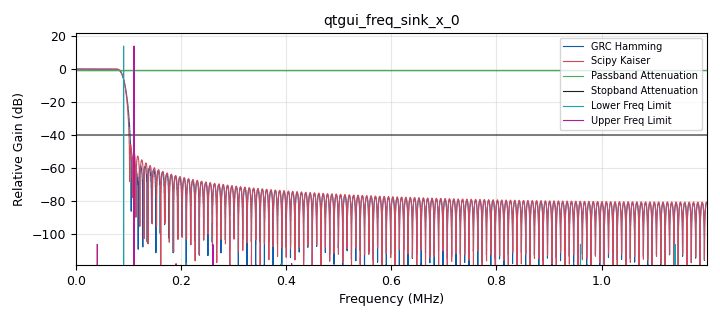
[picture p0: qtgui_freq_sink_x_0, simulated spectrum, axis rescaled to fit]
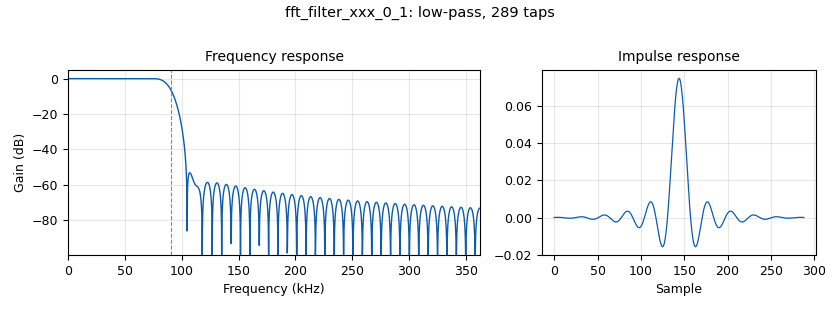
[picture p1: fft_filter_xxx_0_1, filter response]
options:
  parameters:
    author: Gary Schafer
    generate_options: qt_gui
    id: windowedSincImpulseResponse
    output_language: python
    title: Windowed-Sinc Impulse Response
  states: {}

blocks:
- name: N
  id: variable
  parameters:
    value: 2**14
  states: {}
- name: beta
  id: variable_qtgui_range
  parameters:
    gui_hint: 1,0,1,20
    label: 'Kaiser Beta: '
    start: '1'
    step: '0.05'
    stop: '20'
    value: '4'
  states: {}
- name: fir_taps
  id: variable
  parameters:
    value: sig.firwin(num_taps,passband*1000,window=('kaiser',beta),fs=samp_rate)
  states: {}
- name: grc_taps
  id: variable
  parameters:
    value: firdes.low_pass(1,samp_rate,passband*1000,trans_width*1000,0)
  states: {}
- name: num_taps
  id: variable_qtgui_label
  parameters:
    gui_hint: 2,10,1,5
    label: 'Number of Taps: '
    type: int
    value: len(grc_taps)
  states: {}
- name: passband
  id: variable_qtgui_range
  parameters:
    gui_hint: 0,0,1,10
    label: Passband (kHz)
    start: '50'
    step: '0.1'
    stop: '200'
    value: '90'
  states: {}
- name: passband_atten
  id: variable_qtgui_label
  parameters:
    gui_hint: 2,0,1,5
    label: 'Required passband attenuation (dB): '
    type: real
    value: '1'
  states: {}
- name: passband_atten_lin
  id: variable
  parameters:
    value: 10**(-passband_atten/20)
  states: {}
- name: samp_rate
  id: variable_qtgui_label
  parameters:
    gui_hint: 2,15,1,5
    label: 'Sample rate (Hz): '
    type: real
    value: 2.4e6
  states: {}
- name: stopband_atten
  id: variable_qtgui_label
  parameters:
    gui_hint: 2,5,1,5
    label: 'Required stopband attenuation (dB): '
    type: real
    value: '40'
  states: {}
- name: stopband_atten_lin
  id: variable
  parameters:
    value: 10**(-stopband_atten/20)
  states: {}
- name: trans_width
  id: variable_qtgui_range
  parameters:
    gui_hint: 0,10,1,10
    label: 'Transition Width (kHz): '
    start: '1'
    step: '0.1'
    stop: '100'
    value: '20'
  states: {}
- name: analog_sig_source_x_0
  id: analog_sig_source_x
  parameters:
    amp: '10'
    freq: samp_rate/N*751
    offset: '0'
    phase: '0'
    samp_rate: samp_rate
    type: float
    waveform: analog.GR_COS_WAVE
  states: {}
- name: analog_sig_source_x_0_0
  id: analog_sig_source_x
  parameters:
    amp: '10'
    freq: samp_rate/N*615
    offset: '0'
    phase: '0'
    samp_rate: samp_rate
    type: float
    waveform: analog.GR_COS_WAVE
  states: {}
- name: blocks_throttle2_0
  id: blocks_throttle2
  parameters:
    samples_per_second: samp_rate
    type: float
  states: {}
- name: blocks_vector_source_x_0
  id: blocks_vector_source_x
  parameters:
    repeat: 'True'
    type: float
    vector: '[N,]+[0,]*int(N-1)'
  states: {}
- name: blocks_vector_source_x_0_1
  id: blocks_vector_source_x
  parameters:
    repeat: 'True'
    type: float
    vector: '[(N*stopband_atten_lin),]+[0,]*int(N-1)'
  states: {}
- name: blocks_vector_source_x_0_1_0
  id: blocks_vector_source_x
  parameters:
    repeat: 'True'
    type: float
    vector: '[(N*passband_atten_lin),]+[0,]*int(N-1)'
  states: {}
- name: fft_filter_xxx_0
  id: fft_filter_xxx
  parameters:
    decim: '1'
    taps: fir_taps
    type: fff
  states: {}
- name: fft_filter_xxx_0_1
  id: fft_filter_xxx
  parameters:
    decim: '1'
    taps: grc_taps
    type: fff
  states: {}
- name: import_0
  id: import
  parameters:
    comment: 'Import: import numpy as np'
    imports: import numpy as np
  states: {}
- name: import_2
  id: import
  parameters:
    comment: 'Import: import scipy.signal as sig'
    imports: import scipy.signal as sig
  states: {}
- name: qtgui_freq_sink_x_0
  id: qtgui_freq_sink_x
  parameters:
    bw: samp_rate
    color1: '"black"'
    color3: '"dark green"'
    color4: '"dark green"'
    color5: '"dark red"'
    color6: '"dark red"'
    fc: '0'
    fftsize: N
    freqhalf: 'False'
    grid: 'True'
    gui_hint: 3,0,20,20
    label1: GRC Hamming
    label2: Scipy Kaiser
    label3: Passband Attenuation
    label4: Stopband Attenuation
    label5: Lower Freq Limit
    label6: Upper Freq Limit
    nconnections: '6'
    type: float
    width1: '2'
    width2: '2'
    wintype: window.WIN_RECTANGULAR
  states: {}

connections:
- [analog_sig_source_x_0, '0', qtgui_freq_sink_x_0, '5']
- [analog_sig_source_x_0_0, '0', qtgui_freq_sink_x_0, '4']
- [blocks_throttle2_0, '0', fft_filter_xxx_0, '0']
- [blocks_throttle2_0, '0', fft_filter_xxx_0_1, '0']
- [blocks_vector_source_x_0, '0', blocks_throttle2_0, '0']
- [blocks_vector_source_x_0_1, '0', qtgui_freq_sink_x_0, '3']
- [blocks_vector_source_x_0_1_0, '0', qtgui_freq_sink_x_0, '2']
- [fft_filter_xxx_0, '0', qtgui_freq_sink_x_0, '1']
- [fft_filter_xxx_0_1, '0', qtgui_freq_sink_x_0, '0']

metadata:
  file_format: 1
  grc_version: 3.10.9.2
